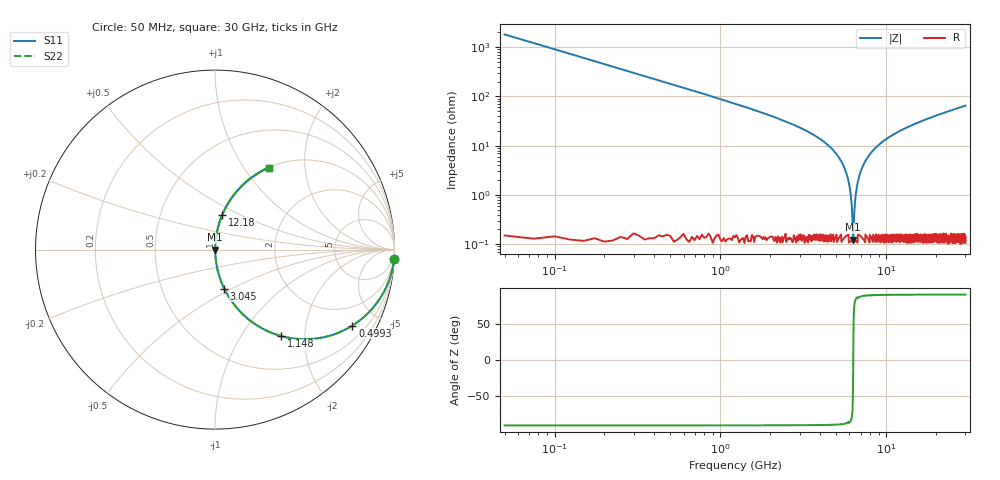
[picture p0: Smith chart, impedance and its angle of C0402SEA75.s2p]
!	AVX Thin Film Operation 	Date: April 2014
!	Description: Accu-P® Series, Thin Film  SMD RF Capacitor
!	Part Number: 04021JA75ZBSTR
# MHZ S MA R 50
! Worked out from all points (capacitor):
!   1201 points, 50 MHz to 30 GHz, reference 50 ohm
!   read as one part in series: C = 1.75 pF near 199.8 MHz
!   lowest |Z| = 124 mohm at 6.315 GHz (marker M1)
!   series resonance near 6.323 GHz, so ESL is about 360 pH
!   S11 on the Smith chart (normalised r, x): 50 MHz: 1, -36; 499.2 MHz: 1.00, -3.62; 1.148 GHz: 1.00, -1.53; 3.045 GHz: 1.00, -0.46; 12.18 GHz: 1.00, +0.40; 30 GHz: 1.00, +1.30
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50  0.998 -3.1  0.055 86.8  0.055 86.8  0.998 -3.1
274.625  0.957 -16.8  0.29 73.1  0.29 73.1  0.957 -16.8
499.25  0.875 -28.9  0.483 61.1  0.483 61.1  0.875 -28.9
1148.167  0.608 -52.5  0.793 37.4  0.793 37.4  0.608 -52.5
1896.917  0.399 -66.3  0.916 23.5  0.916 23.5  0.399 -66.3
3045  0.223 -76.8  0.973 12.9  0.973 12.9  0.223 -76.8
5041.667  0.065 -85.1  0.997 3.8  0.997 3.8  0.065 -85.1
5840.333  0.023 -85.3  0.998 1.3  0.998 1.3  0.023 -85.3
6040  0.013 -83.4  0.999 0.8  0.999 0.8  0.013 -83.4
6214.708  0.005155 -74.7  0.999 0.3  0.999 0.3  0.005155 -74.7
6314.542  0.001397 -16.6  0.999 0.0  0.999 0.0  0.001397 -16.6
6414.375  0.004319 71.7  0.999 -0.2  0.999 -0.2  0.004319 71.7
6564.125  0.011 82.3  0.999 -0.6  0.999 -0.6  0.011 82.3
6738.833  0.018 84.8  0.998 -1.0  0.998 -1.0  0.018 84.8
7287.917  0.041 85.8  0.998 -2.3  0.998 -2.3  0.041 85.8
8311.208  0.079 84.5  0.996 -4.5  0.996 -4.5  0.079 84.5
10058.29  0.137 81.6  0.989 -7.9  0.989 -7.9  0.137 81.6
12179.75  0.198 78.2  0.979 -11.4  0.979 -11.4  0.198 78.2
15025  0.27 74.0  0.961 -15.7  0.961 -15.7  0.27 74.0
20016.67  0.379 67.6  0.924 -22.3  0.924 -22.3  0.379 67.6
25033.29  0.47 61.8  0.882 -28.0  0.882 -28.0  0.47 61.8
30000  0.546 56.8  0.837 -33.1  0.837 -33.1  0.546 56.8
